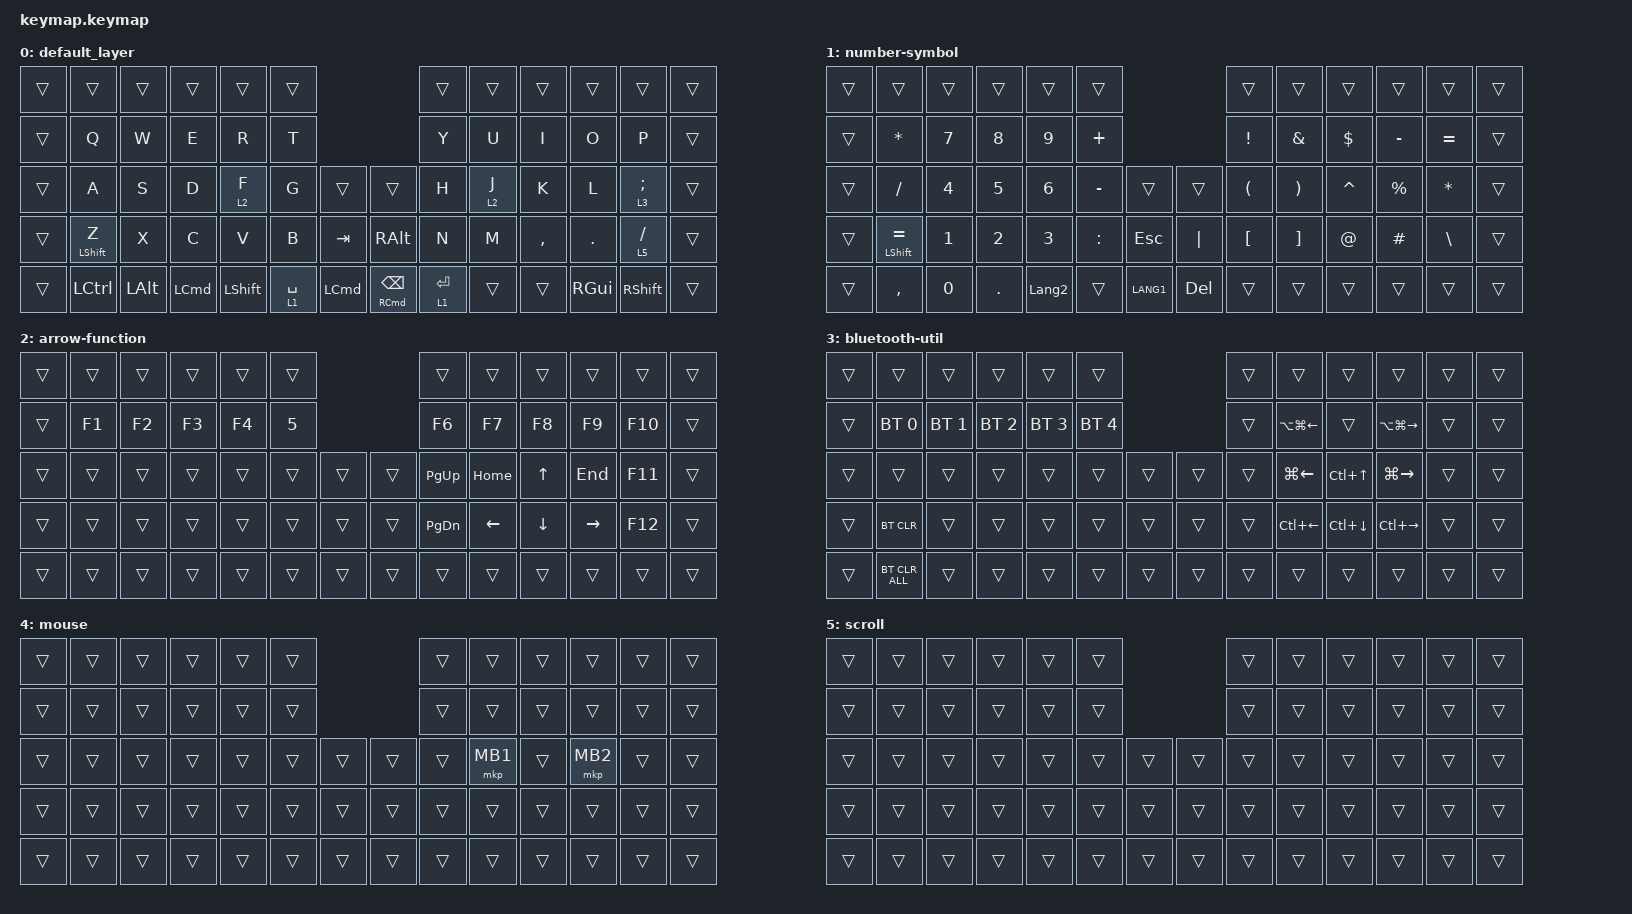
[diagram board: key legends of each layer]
#include <input/processors.dtsi>
#include <behaviors.dtsi>
#include <dt-bindings/zmk/bt.h>
#include <dt-bindings/zmk/keys.h>
#include <dt-bindings/zmk/pointing.h>

&mt {
    flavor = "balanced";
    quick-tap-ms = <150>;
    tapping-term-ms = <150>;
};

/ {
    combos {
        compatible = "zmk,combos";

        tab {
            bindings = <&kp TAB>;
            key-positions = <26 27>;
            layers = <0>;
        };

        shift_tab {
            bindings = <&kp LS(TAB)>;
            key-positions = <27 28>;
        };

        escape {
            bindings = <&kp ESCAPE>;
            key-positions = <13 14>;
        };

        double_quotation {
            bindings = <&kp DOUBLE_QUOTES>;
            key-positions = <35 36>;
        };

        single_quotation {
            bindings = <&kp SQT>;
            key-positions = <34 35>;
        };

        grave {
            bindings = <&kp GRAVE>;
            key-positions = <34 33>;
        };

        tilde {
            bindings = <&kp TILDE>;
            key-positions = <32 33>;
        };
    };

    keymap {
        compatible = "zmk,keymap";

        default_layer {
            bindings = <
&trans  &trans            &trans        &trans            &trans          &trans                                                      &trans       &trans   &trans     &trans    &trans           &trans
&trans  &kp Q             &kp W         &kp E             &kp R           &kp T                                                       &kp Y        &kp U    &kp I      &kp O     &kp P            &trans
&trans  &kp A             &kp S         &kp D             &lt 2 F         &kp G        &trans            &trans                       &kp H        &lt 2 J  &kp K      &kp L     &lt 3 SEMICOLON  &trans
&trans  &mt LEFT_SHIFT Z  &kp X         &kp C             &kp V           &kp B        &kp TAB           &kp RIGHT_ALT                &kp N        &kp M    &kp COMMA  &kp DOT   &lt 5 SLASH      &trans
&trans  &kp LCTRL         &kp LEFT_ALT  &kp LEFT_COMMAND  &kp LEFT_SHIFT  &lt 1 SPACE  &kp LEFT_COMMAND  &mt RIGHT_COMMAND BACKSPACE  &lt 1 ENTER  &trans   &trans     &kp RGUI  &kp RIGHT_SHIFT  &trans
            >;
        };

        number-symbol {
            bindings = <
&trans  &trans                &trans        &trans        &trans          &trans                             &trans                &trans                 &trans       &trans       &trans         &trans
&trans  &kp ASTERISK          &kp N7        &kp N8        &kp N9          &kp PLUS                           &kp EXCLAMATION       &kp AMPERSAND          &kp DOLLAR   &kp MINUS    &kp EQUAL      &trans
&trans  &kp SLASH             &kp NUMBER_4  &kp N5        &kp NUMBER_6    &kp MINUS  &trans      &trans      &kp LEFT_PARENTHESIS  &kp RIGHT_PARENTHESIS  &kp CARET    &kp PERCENT  &kp ASTERISK   &trans
&trans  &mt LEFT_SHIFT EQUAL  &kp NUMBER_1  &kp NUMBER_2  &kp NUMBER_3    &kp COLON  &kp ESCAPE  &kp PIPE    &kp LEFT_BRACKET      &kp RIGHT_BRACKET      &kp AT_SIGN  &kp HASH     &kp BACKSLASH  &trans
&trans  &kp COMMA             &kp N0        &kp PERIOD    &kp LANGUAGE_2  &trans     &kp LANG1   &kp DELETE  &trans                &trans                 &trans       &trans       &trans         &trans
            >;
        };

        arrow-function {
            bindings = <
&trans  &trans  &trans  &trans  &trans  &trans                  &trans         &trans          &trans          &trans           &trans   &trans
&trans  &kp F1  &kp F2  &kp F3  &kp F4  &kp N5                  &kp F6         &kp F7          &kp F8          &kp F9           &kp F10  &trans
&trans  &trans  &trans  &trans  &trans  &trans  &trans  &trans  &kp PG_UP      &kp HOME        &kp UP_ARROW    &kp END          &kp F11  &trans
&trans  &trans  &trans  &trans  &trans  &trans  &trans  &trans  &kp PAGE_DOWN  &kp LEFT_ARROW  &kp DOWN_ARROW  &kp RIGHT_ARROW  &kp F12  &trans
&trans  &trans  &trans  &trans  &trans  &trans  &trans  &trans  &trans         &trans          &trans          &trans           &trans   &trans
            >;
        };

        bluetooth-util {
            bindings = <
&trans  &trans          &trans        &trans        &trans        &trans                        &trans  &trans                  &trans              &trans                   &trans  &trans
&trans  &bt BT_SEL 0    &bt BT_SEL 1  &bt BT_SEL 2  &bt BT_SEL 3  &bt BT_SEL 4                  &trans  &kp LA(LG(LEFT_ARROW))  &trans              &kp LA(LG(RIGHT_ARROW))  &trans  &trans
&trans  &trans          &trans        &trans        &trans        &trans        &trans  &trans  &trans  &kp LG(LEFT_ARROW)      &kp LC(UP_ARROW)    &kp LG(RIGHT)            &trans  &trans
&trans  &bt BT_CLR      &trans        &trans        &trans        &trans        &trans  &trans  &trans  &kp LC(LEFT_ARROW)      &kp LC(DOWN_ARROW)  &kp LC(RIGHT_ARROW)      &trans  &trans
&trans  &bt BT_CLR_ALL  &trans        &trans        &trans        &trans        &trans  &trans  &trans  &trans                  &trans              &trans                   &trans  &trans
            >;
        };

        mouse {
            bindings = <
&trans  &trans  &trans  &trans  &trans  &trans                  &trans  &trans    &trans  &trans    &trans  &trans
&trans  &trans  &trans  &trans  &trans  &trans                  &trans  &trans    &trans  &trans    &trans  &trans
&trans  &trans  &trans  &trans  &trans  &trans  &trans  &trans  &trans  &mkp MB1  &trans  &mkp MB2  &trans  &trans
&trans  &trans  &trans  &trans  &trans  &trans  &trans  &trans  &trans  &trans    &trans  &trans    &trans  &trans
&trans  &trans  &trans  &trans  &trans  &trans  &trans  &trans  &trans  &trans    &trans  &trans    &trans  &trans
            >;
        };

        scroll {
            bindings = <
&trans  &trans  &trans  &trans  &trans  &trans                  &trans  &trans  &trans  &trans  &trans  &trans
&trans  &trans  &trans  &trans  &trans  &trans                  &trans  &trans  &trans  &trans  &trans  &trans
&trans  &trans  &trans  &trans  &trans  &trans  &trans  &trans  &trans  &trans  &trans  &trans  &trans  &trans
&trans  &trans  &trans  &trans  &trans  &trans  &trans  &trans  &trans  &trans  &trans  &trans  &trans  &trans
&trans  &trans  &trans  &trans  &trans  &trans  &trans  &trans  &trans  &trans  &trans  &trans  &trans  &trans
            >;
        };
    };
};
